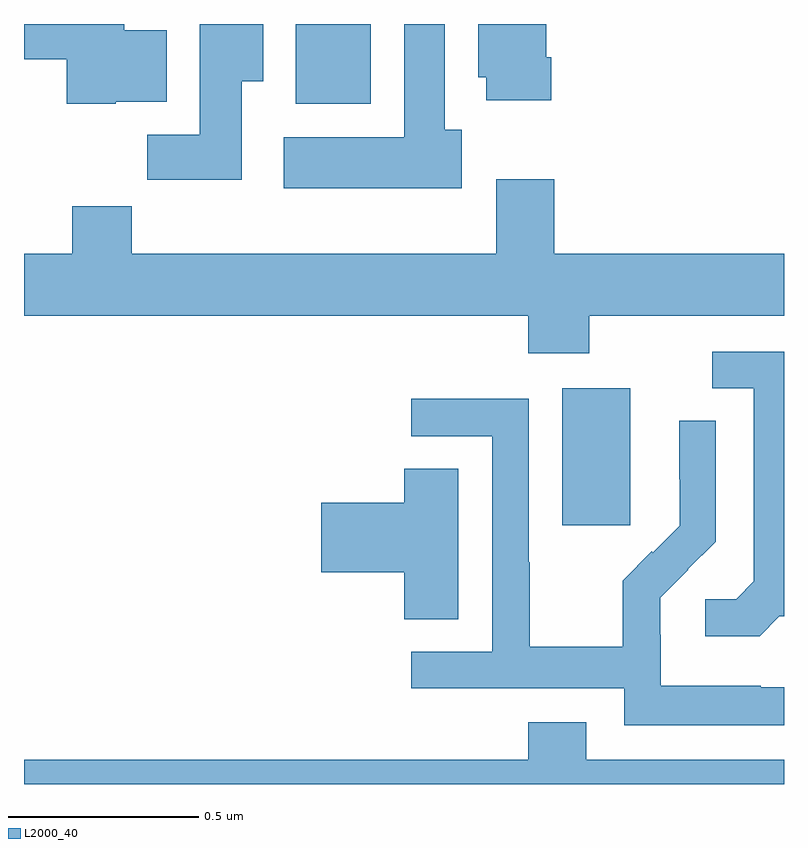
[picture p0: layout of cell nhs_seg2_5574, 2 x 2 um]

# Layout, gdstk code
import gdstk
lib = gdstk.Library(unit=1e-6, precision=1e-09)
def R(c, l, rs):  # rectangles x0, y0, x1, y1
    for r in rs: c.add(gdstk.rectangle(r[:2], r[2:], *l))
def P(c, l, *ps):  # polygons
    for p in ps: c.add(gdstk.Polygon(p, *l))
L2000_40 = (2000, 40)

nhs_seg2_5574 = lib.new_cell('nhs_seg2_5574')
R(nhs_seg2_5574, L2000_40, [(182.417,584.481,182.596,584.842), (181.715,585.59,181.912,585.8)])
P(nhs_seg2_5574, L2000_40, [(182.387,585.712),(182.374,585.712),(182.374,585.8),(182.195,585.8),(182.195,585.66),(182.216,585.66),(182.216,585.6),(182.387,585.6)],
  [(181.573,585.649),(181.63,585.649),(181.63,585.8),(181.463,585.8),(181.463,585.508),(181.324,585.508),(181.324,585.39),(181.573,585.39)],
  [(182.152,585.522),(182.107,585.522),(182.107,585.8),(182,585.8),(182,585.502),(181.683,585.502),(181.683,585.368),(182.152,585.368)],
  [(181.242,585.596),(181.375,585.596),(181.375,585.784),(181.264,585.784),(181.264,585.8),(181,585.8),(181,585.707),(181.112,585.707),(181.112,585.59),(181.242,585.59)],
  [(182.396,585.391),(182.243,585.391),(182.243,585.196),(181.283,585.196),(181.283,585.32),(181.127,585.32),(181.127,585.196),(181,585.196),(181,585.032),(182.327,585.032),(182.327,584.933),(182.487,584.933),(182.487,585.032),(183,585.032),(183,585.196),(182.396,585.196)],
  [(182.988,584.241),(183,584.241),(183,584.937),(182.811,584.937),(182.811,584.841),(182.921,584.841),(182.921,584.333),(182.874,584.286),(182.793,584.286),(182.793,584.189),(182.936,584.189)],
  [(183,584.055),(182.939,584.055),(182.939,584.059),(182.676,584.059),(182.676,584.193),(182.674,584.193),(182.674,584.29),(182.748,584.364),(182.747,584.365),(182.82,584.438),(182.82,584.756),(182.724,584.756),(182.724,584.602),(182.726,584.602),(182.726,584.48),(182.655,584.409),(182.652,584.412),(182.575,584.335),(182.575,584.161),(182.331,584.161),(182.331,584.384),(182.328,584.384),(182.328,584.814),(182.019,584.814),(182.019,584.715),(182.232,584.715),(182.232,584.148),(182.019,584.148),(182.019,584.052),(182.58,584.052),(182.58,583.955),(183,583.955)],
  [(182.143,584.63),(182,584.63),(182,584.54),(181.782,584.54),(181.782,584.357),(182,584.357),(182,584.233),(182.143,584.233)],
  [(183,583.864),(182.479,583.864),(182.479,583.963),(182.327,583.963),(182.327,583.864),(181,583.864),(181,583.8),(183,583.8)])

lib.write_gds('nhs_seg2_5574.gds')
